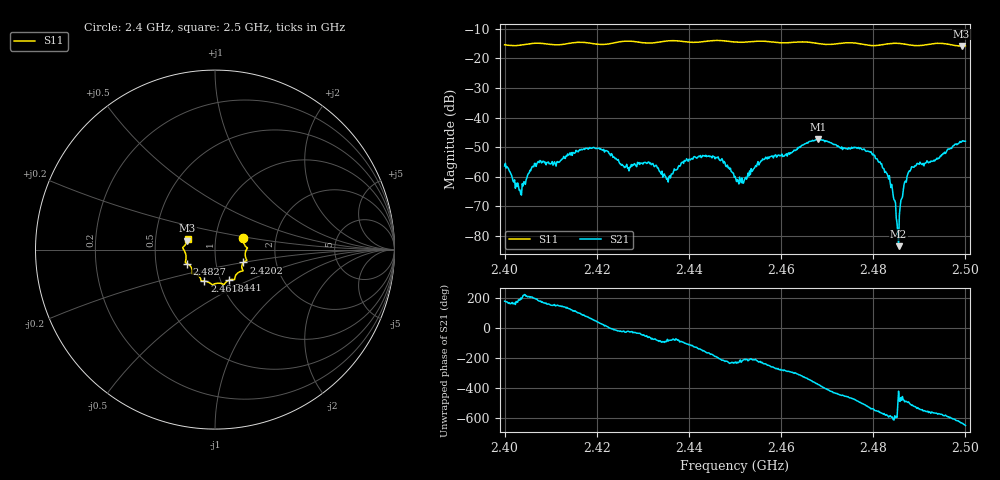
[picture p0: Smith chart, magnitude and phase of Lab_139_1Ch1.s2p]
# Hz S RI R 50
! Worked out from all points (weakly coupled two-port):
!   601 points, 2.4 GHz to 2.5 GHz, reference 50 ohm
!   highest |S21| = -47.33 dB at 2.468 GHz (marker M1); lowest = -83.4 dB at 2.4855 GHz (marker M2)
!   lowest |S11| = -15.8 dB at 2.4992 GHz (marker M3), VSWR 1.39, Z = 36.5 + j3.66 ohm
!   |S11| at or under -10 dB: start of sweep to end of sweep
!   S12 and S22 are empty: the file has one direction only
!   S11 on the Smith chart (normalised r, x): 2.4 GHz: 1.36, +0.18; 2.4202 GHz: 1.36, -0.20; 2.441 GHz: 1.10, -0.39; 2.4618 GHz: 0.84, -0.30; 2.4827 GHz: 0.72, -0.12; 2.5 GHz: 0.73, +0.09
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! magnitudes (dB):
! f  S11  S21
! 2.4 GHz  -15.4  -56.3
! 2.4035 GHz  -15.5  -65.9
! 2.407 GHz  -14.9  -55.6
! 2.4167 GHz  -14.5  -50.6
! 2.4202 GHz  -15.2  -50.3
! 2.4265 GHz  -14.1  -55.8
! 2.4333 GHz  -14.5  -57.0
! 2.4355 GHz  -14.0  -61.8
! 2.441 GHz  -14.6  -53.4
! 2.4467 GHz  -13.9  -54.4
! 2.45 GHz  -14.5  -59.8
! 2.4618 GHz  -14.6  -52.4
! 2.4667 GHz  -14.6  -47.9
! 2.468 GHz  -14.9  -47.3
! 2.4792 GHz  -15.6  -51.4
! 2.4827 GHz  -15.2  -58.2
! 2.4833 GHz  -15.0  -60.7
! 2.4855 GHz  -14.9  -83.4
! 2.4865 GHz  -15.1  -64.8
! 2.4882 GHz  -15.5  -57.4
! 2.4992 GHz  -15.8  -48.2
! 2.5 GHz  -15.7  -47.9
